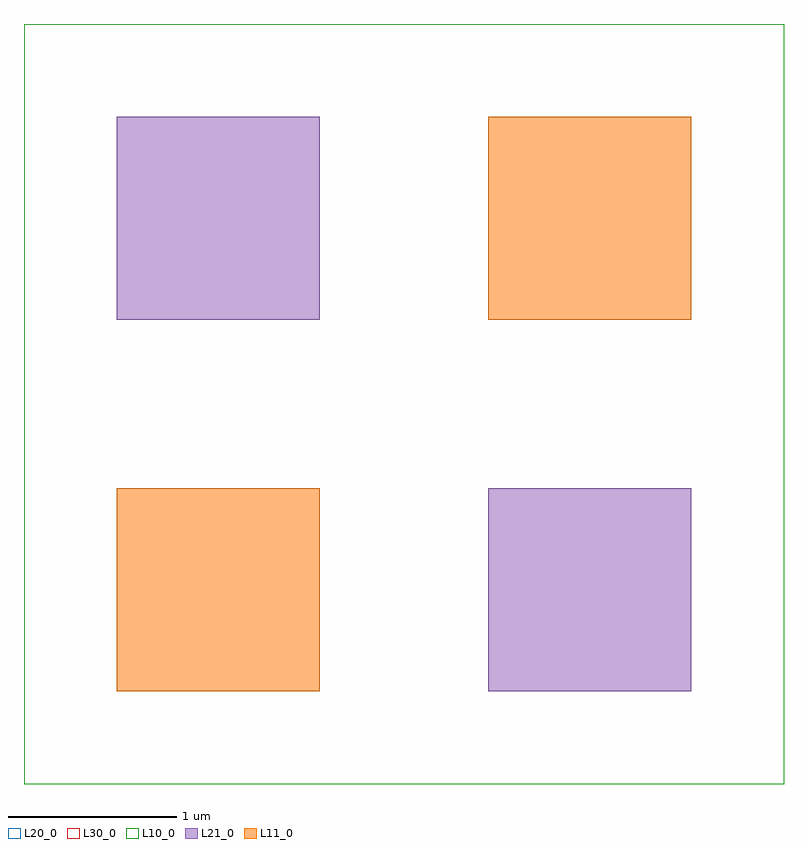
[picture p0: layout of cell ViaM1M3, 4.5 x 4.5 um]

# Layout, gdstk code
import gdstk
lib = gdstk.Library(unit=1e-6, precision=1e-09)
def R(c, l, rs):  # rectangles x0, y0, x1, y1
    for r in rs: c.add(gdstk.rectangle(r[:2], r[2:], *l))
L10_0 = (10, 0)
L11_0 = (11, 0)
L20_0 = (20, 0)
L21_0 = (21, 0)
L30_0 = (30, 0)

viam1m3 = lib.new_cell('ViaM1M3')
R(viam1m3, L10_0, [(-2.25,-2.25,2.25,2.25)])
R(viam1m3, L11_0, [(-1.7,-1.7,-0.5,-0.5), (0.5,0.5,1.7,1.7)])
R(viam1m3, L20_0, [(-2.25,-2.25,2.25,2.25)])
R(viam1m3, L21_0, [(0.5,-1.7,1.7,-0.5), (-1.7,0.5,-0.5,1.7)])
R(viam1m3, L30_0, [(-2.25,-2.25,2.25,2.25)])

lib.write_gds('ViaM1M3.gds')
